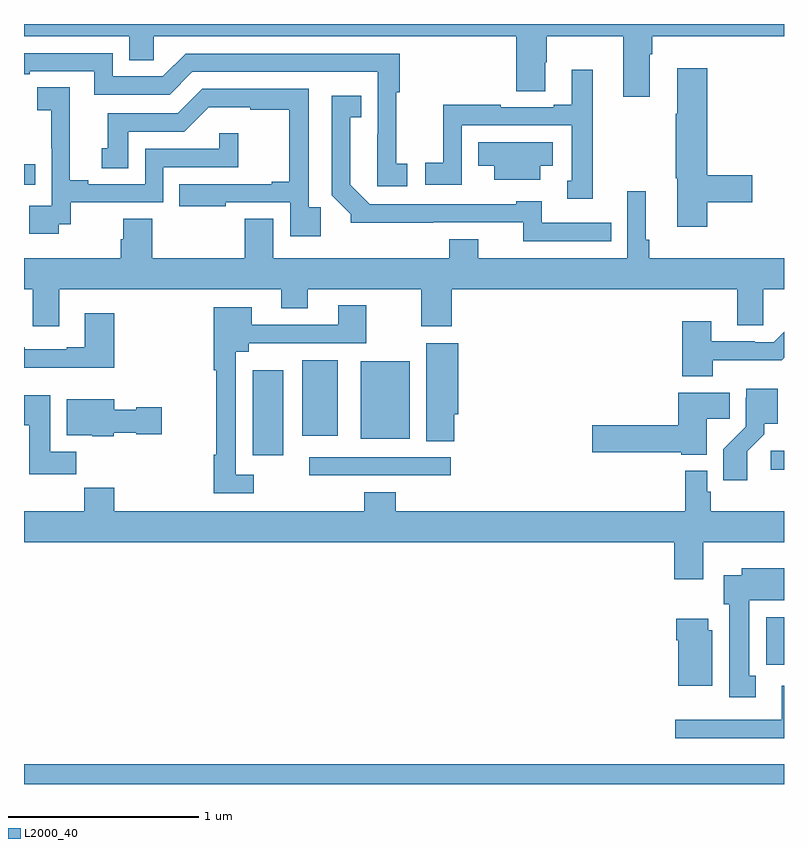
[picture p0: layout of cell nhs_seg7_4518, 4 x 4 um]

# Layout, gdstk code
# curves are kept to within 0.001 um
import gdstk
lib = gdstk.Library(unit=1e-6, precision=1e-09)
def R(c, l, rs):  # rectangles x0, y0, x1, y1
    for r in rs: c.add(gdstk.rectangle(r[:2], r[2:], *l))
def P(c, l, *ps):  # polygons
    for p in ps: c.add(gdstk.Polygon(p, *l))
L2000_40 = (2000, 40)

nhs_seg7_4518 = lib.new_cell('nhs_seg7_4518')
R(nhs_seg7_4518, L2000_40, [(395,1010,399,1010.104), (398.907,1010.628,399,1010.878), (396.501,1011.624,397.246,1011.72), (398.931,1011.655,399,1011.753), (396.203,1011.729,396.364,1012.177), (396.773,1011.818,397.03,1012.225), (396.464,1011.833,396.652,1012.231), (395,1013.154,395.06,1013.263)])
P(nhs_seg7_4518, L2000_40, [(398.293,1013.84),(398.306,1013.84),(398.306,1013.936),(399,1013.936),(399,1014),(395,1014),(395,1013.936),(395.555,1013.936),(395.555,1013.809),(395.682,1013.809),(395.682,1013.936),(397.592,1013.936),(397.592,1013.647),(397.744,1013.647),(397.744,1013.798),(397.752,1013.798),(397.752,1013.936),(398.153,1013.936),(398.153,1013.616),(398.293,1013.616)],
  [(397.018,1013.265),(396.96,1013.265),(396.96,1013.641),(396.977,1013.641),(396.977,1013.844),(395.85,1013.844),(395.73,1013.724),(395.466,1013.724),(395.466,1013.847),(395,1013.847),(395,1013.736),(395.029,1013.736),(395.029,1013.751),(395.37,1013.751),(395.37,1013.628),(395.766,1013.628),(395.886,1013.748),(396.861,1013.748),(396.86,1013.145),(397.018,1013.145)],
  [(398.597,1013.062),(398.833,1013.062),(398.833,1013.204),(398.597,1013.204),(398.597,1013.767),(398.438,1013.767),(398.438,1013.528),(398.431,1013.528),(398.431,1013.187),(398.438,1013.187),(398.438,1012.932),(398.597,1012.932)],
  [(397.993,1013.758),(397.883,1013.758),(397.883,1013.575),(397.787,1013.575),(397.787,1013.562),(397.508,1013.562),(397.508,1013.575),(397.207,1013.575),(397.207,1013.27),(397.113,1013.27),(397.113,1013.154),(397.305,1013.154),(397.305,1013.466),(397.884,1013.466),(397.884,1013.175),(397.859,1013.175),(397.859,1013.081),(397.993,1013.081)],
  [(395.184,1012.947),(395.246,1012.947),(395.246,1013.061),(395.733,1013.061),(395.733,1013.247),(396.128,1013.247),(396.128,1013.425),(396.027,1013.425),(396.027,1013.343),(395.637,1013.343),(395.637,1013.157),(395.338,1013.157),(395.338,1013.177),(395.242,1013.177),(395.242,1013.555),(395.24,1013.555),(395.24,1013.666),(395.07,1013.666),(395.07,1013.545),(395.144,1013.545),(395.144,1013.347),(395.145,1013.347),(395.145,1013.043),(395.028,1013.043),(395.028,1012.896),(395.184,1012.896)],
  [(396.563,1013.035),(396.498,1013.035),(396.498,1013.658),(395.937,1013.658),(395.808,1013.529),(395.441,1013.529),(395.441,1013.346),(395.408,1013.346),(395.408,1013.242),(395.548,1013.242),(395.548,1013.433),(395.844,1013.433),(395.972,1013.561),(396.191,1013.561),(396.191,1013.55),(396.397,1013.55),(396.397,1013.17),(396.305,1013.17),(396.305,1013.157),(395.818,1013.157),(395.818,1013.042),(396.061,1013.042),(396.061,1013.061),(396.402,1013.061),(396.402,1012.884),(396.563,1012.884)],
  [(398.09,1012.953),(397.726,1012.953),(397.726,1013.068),(397.59,1013.068),(397.59,1013.052),(396.819,1013.052),(396.718,1013.153),(396.718,1013.51),(396.776,1013.51),(396.776,1013.623),(396.621,1013.623),(396.621,1013.098),(396.72,1012.999),(396.72,1012.955),(397.627,1012.956),(397.627,1012.857),(398.09,1012.857)],
  [(397.717,1013.255),(397.783,1013.255),(397.783,1013.377),(397.39,1013.377),(397.39,1013.255),(397.475,1013.255),(397.475,1013.18),(397.717,1013.18)],
  [(395.185,1012.604),(396.353,1012.604),(396.353,1012.505),(396.493,1012.505),(396.493,1012.604),(397.09,1012.604),(397.09,1012.41),(397.25,1012.41),(397.25,1012.604),(398.753,1012.604),(398.753,1012.414),(398.892,1012.414),(398.892,1012.604),(399,1012.604),(399,1012.768),(398.291,1012.768),(398.291,1012.864),(398.272,1012.864),(398.272,1013.119),(398.175,1013.119),(398.175,1012.768),(397.39,1012.768),(397.39,1012.867),(397.238,1012.867),(397.238,1012.768),(396.313,1012.768),(396.313,1012.976),(396.161,1012.976),(396.161,1012.768),(395.675,1012.768),(395.675,1012.976),(395.522,1012.976),(395.522,1012.866),(395.51,1012.866),(395.51,1012.768),(395,1012.768),(395,1012.604),(395.045,1012.604),(395.045,1012.41),(395.185,1012.41)],
  [(396.208,1011.627),(396.114,1011.627),(396.114,1012.274),(396.184,1012.274),(396.184,1012.32),(396.801,1012.32),(396.801,1012.519),(396.653,1012.519),(396.653,1012.416),(396.199,1012.416),(396.199,1012.51),(395.998,1012.51),(395.998,1012.178),(396.013,1012.178),(396.013,1011.734),(395.998,1011.734),(395.998,1011.531),(396.208,1011.531)],
  [(395.474,1012.477),(395.321,1012.477),(395.321,1012.3),(395.225,1012.3),(395.225,1012.287),(395.005,1012.287),(395.005,1012.3),(395,1012.3),(395,1012.19),(395.474,1012.19)],
  [(398.625,1012.23),(398.987,1012.23),(399,1012.243),(399,1012.38),(398.946,1012.326),(398.846,1012.326),(398.846,1012.329),(398.617,1012.329),(398.617,1012.435),(398.465,1012.435),(398.465,1012.145),(398.625,1012.145)],
  [(397.265,1011.945),(397.286,1011.945),(397.286,1012.321),(397.118,1012.321),(397.118,1011.805),(397.265,1011.805)],
  [(398.806,1011.751),(398.896,1011.841),(398.896,1011.896),(398.968,1011.896),(398.968,1012.081),(398.801,1012.081),(398.801,1012.032),(398.799,1012.032),(398.799,1011.881),(398.68,1011.762),(398.68,1011.6),(398.806,1011.6)],
  [(398.593,1011.922),(398.714,1011.922),(398.714,1012.06),(398.444,1012.06),(398.444,1011.887),(397.992,1011.887),(397.992,1011.745),(398.46,1011.745),(398.46,1011.734),(398.593,1011.734)],
  [(395.276,1011.748),(395.137,1011.748),(395.137,1012.045),(395,1012.045),(395,1011.889),(395.027,1011.889),(395.027,1011.63),(395.276,1011.63)],
  [(395.472,1011.848),(395.592,1011.848),(395.592,1011.841),(395.725,1011.841),(395.725,1011.983),(395.592,1011.983),(395.592,1011.97),(395.476,1011.97),(395.476,1012.024),(395.225,1012.024),(395.225,1011.836),(395.358,1011.836),(395.358,1011.83),(395.472,1011.83)],
  [(398.575,1011.272),(399,1011.272),(399,1011.436),(398.615,1011.436),(398.615,1011.537),(398.595,1011.537),(398.595,1011.649),(398.479,1011.649),(398.479,1011.436),(396.956,1011.436),(396.956,1011.535),(396.791,1011.535),(396.791,1011.436),(395.474,1011.436),(395.474,1011.56),(395.317,1011.56),(395.317,1011.436),(395,1011.436),(395,1011.272),(398.423,1011.272),(398.423,1011.078),(398.575,1011.078)],
  [(398.851,1010.569),(398.818,1010.569),(398.818,1010.966),(399,1010.966),(399,1011.136),(398.777,1011.136),(398.777,1011.1),(398.684,1011.1),(398.684,1010.946),(398.711,1010.946),(398.711,1010.457),(398.851,1010.457)],
  [(398.623,1010.808),(398.602,1010.808),(398.602,1010.869),(398.432,1010.869),(398.432,1010.756),(398.444,1010.756),(398.444,1010.516),(398.623,1010.516)],
  [(399,1010.517),(398.987,1010.517),(398.987,1010.337),(398.427,1010.337),(398.427,1010.24),(399,1010.24)])

lib.write_gds('nhs_seg7_4518.gds')
